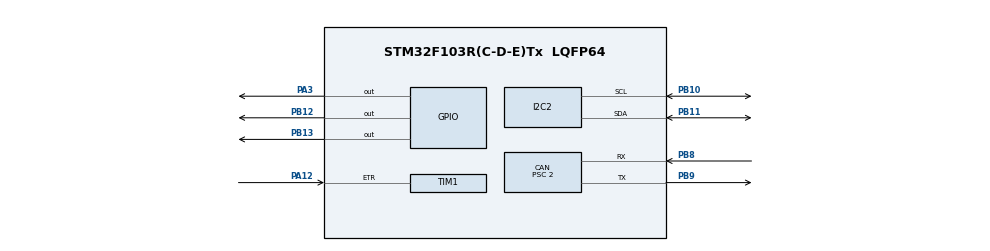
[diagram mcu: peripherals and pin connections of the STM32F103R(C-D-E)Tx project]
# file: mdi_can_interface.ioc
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CAN.BS1=CAN_BS1_4TQ
CAN.BS2=CAN_BS2_3TQ
CAN.CalculateBaudRate=500000
CAN.CalculateTimeBit=2000
CAN.CalculateTimeQuantum=250.0
CAN.Mode=CAN_MODE_NORMAL
CAN.Prescaler=2
CAN.SJW=CAN_SJW_1TQ
Mcu.Family=STM32F1
Mcu.Name=STM32F103R(C-D-E)Tx
Mcu.Package=LQFP64
NVIC.CAN1_RX1_IRQn=true\:0\:0\:false\:false\:true\:true\:true\:true
NVIC.PriorityGroup=NVIC_PRIORITYGROUP_4
NVIC.TIM1_UP_IRQn=true\:0\:0\:false\:false\:true\:true\:true\:true
NVIC.TIM6_IRQn=true\:0\:0\:false\:false\:true\:true\:true\:true
NVIC.TIM7_IRQn=true\:0\:0\:false\:false\:true\:true\:true\:true
NVIC.USB_LP_CAN1_RX0_IRQn=true\:0\:0\:false\:false\:true\:true\:true\:true
PA12.Signal=S_TIM1_ETR
PA13.Mode=Serial_Wire
PA13.Signal=SYS_JTMS-SWDIO
PA14.Mode=Serial_Wire
PA14.Signal=SYS_JTCK-SWCLK
PA3.GPIO_ModeDefaultOutputPP=GPIO_MODE_OUTPUT_PP
PA3.GPIO_PuPd=GPIO_NOPULL
PA3.Signal=GPIO_Output
PB10.Mode=I2C
PB10.Signal=I2C2_SCL
PB11.Mode=I2C
PB11.Signal=I2C2_SDA
PB12.GPIO_ModeDefaultOutputPP=GPIO_MODE_OUTPUT_PP
PB12.GPIO_PuPd=GPIO_NOPULL
PB12.Signal=GPIO_Output
PB13.GPIO_ModeDefaultOutputPP=GPIO_MODE_OUTPUT_PP
PB13.GPIO_PuPd=GPIO_NOPULL
PB13.Signal=GPIO_Output
PB8.Mode=CAN_Activate
PB8.Signal=CAN_RX
PB9.Mode=CAN_Activate
PB9.Signal=CAN_TX
PD0-OSC_IN.Signal=RCC_OSC_IN
PD1-OSC_OUT.Signal=RCC_OSC_OUT
ProjectManager.HeapSize=0x200
ProjectManager.StackSize=0x400
ProjectManager.TargetToolchain=STM32CubeIDE
RCC.APB1Freq_Value=8000000
RCC.APB1TimFreq_Value=8000000
RCC.APB2Freq_Value=8000000
SH.S_TIM1_ETR.0=TIM1_ETR,ClockSourceETR_Mode2
TIM1.AutoReloadPreload=TIM_AUTORELOAD_PRELOAD_ENABLE
TIM1.ClockFilter=15
TIM1.Period=47
TIM6.Period=200-1
TIM6.Prescaler=8000-1
TIM7.AutoReloadPreload=TIM_AUTORELOAD_PRELOAD_ENABLE
TIM7.Period=1000-1
TIM7.Prescaler=8000-1
VP_TIM6_VS_ClockSourceINT.Mode=Enable_Timer
VP_TIM7_VS_ClockSourceINT.Mode=Enable_Timer
board=custom

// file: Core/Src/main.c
/* USER CODE BEGIN Header */
/**
  ******************************************************************************
  * @file           : main.c
  * @brief          : Main program body
  ******************************************************************************
  * @attention
  *
  * <h2><center>&copy; Copyright (c) 2023 STMicroelectronics.
  * All rights reserved.</center></h2>
  *
  * This software component is licensed by ST under BSD 3-Clause license,
  * the "License"; You may not use this file except in compliance with the
  * License. You may obtain a copy of the License at:
  *                        opensource.org/licenses/BSD-3-Clause
  *
  ******************************************************************************
  */
/* USER CODE END Header */
#include "main.h"

/* USER CODE BEGIN Includes */
#include <can.h>
/* USER CODE END Includes */

/* USER CODE BEGIN PM */
#define DAC_ADDR        (0b0001110 << 1)
#define DAC_REGEN_ADDR  (0b0001101 << 1)
/* USER CODE END PM */

CAN_HandleTypeDef hcan;

I2C_HandleTypeDef hi2c2;

TIM_HandleTypeDef htim1;
TIM_HandleTypeDef htim6;
TIM_HandleTypeDef htim7;

void SystemClock_Config(void);
static void MX_GPIO_Init(void);
static void MX_CAN_Init(void);
static void MX_I2C2_Init(void);
static void MX_TIM6_Init(void);
static void MX_TIM1_Init(void);
static void MX_TIM7_Init(void);

/* USER CODE BEGIN 0 */

CAN_TxHeaderTypeDef TxHeader; //struct with outgoing message information (type and length, etc.)
CAN_RxHeaderTypeDef RxHeader; //struct with incoming message information
uint32_t TxMailbox[3]; //3 transmit mailboxes

uint8_t TxData[8]; //buffer for transmit message
uint8_t RxData[8]; //buffer for receive message
uint8_t getTxData[8];

uint8_t localRxDataFrame0[8];
uint8_t localRxDataFrame1[8];
uint8_t localRxDataFrame2[8];
uint8_t localRxDataMessage401[8];

CAN_message_t msg0; //where all the info and data for the message will be put

int txIDList[] = {0x501, 0x502, 0x503, 0x50B}; //array for the messages to be sent

//Flags Initialization
bool SendMessageTimerInterrupt = 0;
bool SendSlowMessage = 0;
bool UpdateSpeedInterrupt = 0;
bool send_data_flag = 0;
bool Parse_Data_Flag = 0;
bool parse_frame0 = 0;
bool parse_frame1 = 0;
bool parse_frame2 = 0;

//Variables for HALL speed calculations
uint32_t oldTime = 0;
uint32_t currentTime = 0;
float rpm = 0;

float parsed_voltage = 0;

uint8_t countSlowTimerInterrupt = 0; //counter to send the slower messages

/* USER CODE END 0 */

int main(void)
{
  /* USER CODE BEGIN 1 */
	uint8_t RxDataLocal[8];
  /* USER CODE END 1 */

  /* MCU Configuration--------------------------------------------------------*/

  /* Reset of all peripherals, Initializes the Flash interface and the Systick. */
  HAL_Init();

  /* Configure the system clock */
  SystemClock_Config();

  /* Initialize all configured peripherals */
  MX_GPIO_Init();
  MX_CAN_Init();
  MX_I2C2_Init();
  MX_TIM6_Init();
  MX_TIM1_Init();
  MX_TIM7_Init();
  /* USER CODE BEGIN 2 */
  HAL_CAN_Start(&hcan); //starts CAN
  HAL_CAN_ActivateNotification(&hcan, CAN_IT_RX_FIFO0_MSG_PENDING); //FIFO0 message pending interrupt (interrupt callback func will be called when this interrupt is triggered)

  HAL_TIM_Base_Start_IT(&htim6); //timer for sending messages
  HAL_TIM_Base_Start_IT(&htim1); //timer for updating speed coming from HALL sensor
  HAL_TIM_Base_Start_IT(&htim7); //WATCHDOG timer to reset rpm to 0 when motor stops spinning

  TxHeader.DLC = 8;
  TxHeader.IDE = CAN_ID_EXT; //type of id being sent ext or simple
  TxHeader.RTR = CAN_RTR_DATA;
  TxHeader.ExtId = 0x08F89540; //request frame ExtId
  TxHeader.TransmitGlobalTime = DISABLE;

  /* USER CODE END 2 */

  /* Infinite loop */
  /* USER CODE BEGIN WHILE */

  //BOOT LED
  HAL_GPIO_WritePin(GPIOA, GPIO_PIN_3, GPIO_PIN_SET);

  while (1)
  {
    //////////////////////////////////////
    // PARSE MESSAGES COMING FROM MOTOR CONTROLLER  and
    //////////////////////////////////////
    if(Parse_Data_Flag == 1 ){ //Parse_Data_Flag set in interrupt

      //CopyRxData(localRxDataMessage401,RxDataLocal);
      CAN_Decode_Velocity_Message(localRxDataMessage401, &msg0); //Decode the Incoming 0x401 Messages to get data for driving the car
      Parse_Data_Flag = 0;
      send_data_flag = 1;
    }

    if(parse_frame0 == 1){ //Parse the frame based on info we want
    	CopyRxData(localRxDataFrame0,RxDataLocal);
    	Decode_Frame0(RxDataLocal,&msg0);
    	parse_frame0 = 0; //reset flag
    }

    if(parse_frame1 == 1){ //Parse the frame based on info we want (currently this frame doesnt have info we care)
    	CopyRxData(localRxDataFrame1,RxDataLocal);
    	parse_frame1 = 0; //reset flag

    }

    if(parse_frame2 == 1){ //Parse the frame based on info we want
    	CopyRxData(localRxDataFrame2,RxDataLocal);
    	Decode_Frame2(RxData,&msg0);
    	parse_frame2 = 0; //reset flag
    }

    //////////////////////////////////////
    // SEND SIGNALS TO MOTOR CONTROLLER
    //////////////////////////////////////

    if( (send_data_flag == 1 ) && (Parse_Data_Flag == 0) )
    {
    	 //send acceleration current to motor
         if(msg0.regen == REGEN_TRUE)
        	 Send_Voltage(msg0.acceleration, DAC_REGEN_ADDR, &hi2c2);
         else{
        	 parsed_voltage = msg0.acceleration;
        	 Send_Voltage(parsed_voltage, DAC_ADDR, &hi2c2);
         }

         //send direction
         if(msg0.direction == REVERSE_FALSE)
        	 HAL_GPIO_WritePin(GPIOB, GPIO_PIN_13, GPIO_PIN_SET);
         else
        	 HAL_GPIO_WritePin(GPIOB, GPIO_PIN_13, GPIO_PIN_RESET);

         //send power/eco
         if(msg0.power_or_eco == ECO_ON)
        	 HAL_GPIO_WritePin(GPIOB, GPIO_PIN_12, GPIO_PIN_SET);
         else
        	 HAL_GPIO_WritePin(GPIOB, GPIO_PIN_12, GPIO_PIN_RESET);

	     send_data_flag = 0;
    }

    //////////////////////////////////////
    // SEND MESSEGE TO MCB
    //////////////////////////////////////

    if(SendMessageTimerInterrupt == 1)
    {
    	SendMessageTimerInterrupt = 0;

    	//send request for data from MC
    	TxHeader.IDE = CAN_ID_EXT; //type of id being sent ext or simple
    	TxHeader.ExtId = 0x08F89540; //request frame ExtId
    	//Send_Test_Message(TxData, 7, 7); //request all frames
    	Send_Test_Message(TxData, 5, 5); //request frame 0 and 2
    	HAL_CAN_AddTxMessage(&hcan, &TxHeader, TxData, TxMailbox);

    	//txData 0x501
    	TxHeader.StdId = txIDList[0];
    	TxHeader.IDE = CAN_ID_STD; //type of id being sent ext or simple
    	get501(getTxData, msg0);
    	for(int i = 0; i < 8; i++){
    		TxData[i] = getTxData[i];
    	}
    	HAL_CAN_AddTxMessage(&hcan, &TxHeader, TxData, TxMailbox);

    	//txData 0x502
    	TxHeader.StdId = txIDList[1];
    	TxHeader.IDE = CAN_ID_STD; //type of id being sent ext or simple
    	get502(getTxData, msg0);
    	for(int i = 0; i < 8; i++){
    		TxData[i] = getTxData[i];
    	}
    	HAL_CAN_AddTxMessage(&hcan, &TxHeader, TxData, TxMailbox);

    	//need to wait for mailbox to clear before sending msg
    	while(HAL_CAN_GetTxMailboxesFreeLevel(&hcan) < 1 ){};

    	//txData 0x503
    	TxHeader.StdId = txIDList[2];
    	TxHeader.IDE = CAN_ID_STD; //type of id being sent ext or simple
    	get503(getTxData, msg0);
    	for(int i = 0; i < 8; i++){
    		TxData[i] = getTxData[i];
    	}
    	HAL_CAN_AddTxMessage(&hcan, &TxHeader, TxData, TxMailbox);

    	//need to wait for mailbox to clear before sending msg
    	while(HAL_CAN_GetTxMailboxesFreeLevel(&hcan) < 1 ){}; //very sketch this was added by BEN :) - P.S Mischa dont kill me

    	if(SendSlowMessage == 1){
    		//txData 0x50B
    		TxHeader.StdId = txIDList[3];
    		TxHeader.IDE = CAN_ID_STD; //type of id being sent ext or simple
    		get50B(getTxData, msg0);
    		for(int i = 0; i < 8; i++){
    			TxData[i] = getTxData[i];
    		}
    	  HAL_CAN_AddTxMessage(&hcan, &TxHeader, TxData, TxMailbox);
    	  SendSlowMessage = 0;
      }
    }
    ///////////////////////////////
    //// HALL SPEED Convertion ////
    ///////////////////////////////

    if(UpdateSpeedInterrupt == 1){
      UpdateSpeedInterrupt = 0; //reset flag

      rpm = 60.0 / ((currentTime - oldTime) * 0.001); //get RPM

      msg0.motorVelocity = rpm;
      msg0.vehicleVelocity = (WHEEL_RADIUS * 2.0 * M_PI * rpm) / 60.0 ;  //linear speed = radius x angular speed = r*2*π*(RPM)/60
    }
  }
    /* USER CODE END WHILE */

}

void SystemClock_Config(void)
{
  RCC_OscInitTypeDef RCC_OscInitStruct = {0};
  RCC_ClkInitTypeDef RCC_ClkInitStruct = {0};

  /** Initializes the RCC Oscillators according to the specified parameters
  * in the RCC_OscInitTypeDef structure.
  */
  RCC_OscInitStruct.OscillatorType = RCC_OSCILLATORTYPE_HSI;
  RCC_OscInitStruct.HSIState = RCC_HSI_ON;
  RCC_OscInitStruct.HSICalibrationValue = RCC_HSICALIBRATION_DEFAULT;
  RCC_OscInitStruct.PLL.PLLState = RCC_PLL_NONE;
  if (HAL_RCC_OscConfig(&RCC_OscInitStruct) != HAL_OK)
  {
    Error_Handler();
  }
  /** Initializes the CPU, AHB and APB buses clocks
  */
  RCC_ClkInitStruct.ClockType = RCC_CLOCKTYPE_HCLK|RCC_CLOCKTYPE_SYSCLK
                              |RCC_CLOCKTYPE_PCLK1|RCC_CLOCKTYPE_PCLK2;
  RCC_ClkInitStruct.SYSCLKSource = RCC_SYSCLKSOURCE_HSI;
  RCC_ClkInitStruct.AHBCLKDivider = RCC_SYSCLK_DIV1;
  RCC_ClkInitStruct.APB1CLKDivider = RCC_HCLK_DIV1;
  RCC_ClkInitStruct.APB2CLKDivider = RCC_HCLK_DIV1;

  if (HAL_RCC_ClockConfig(&RCC_ClkInitStruct, FLASH_LATENCY_0) != HAL_OK)
  {
    Error_Handler();
  }
}

static void MX_CAN_Init(void)
{

  hcan.Instance = CAN1;
  hcan.Init.Prescaler = 2;
  hcan.Init.Mode = CAN_MODE_NORMAL;
  hcan.Init.SyncJumpWidth = CAN_SJW_1TQ;
  hcan.Init.TimeSeg1 = CAN_BS1_4TQ;
  hcan.Init.TimeSeg2 = CAN_BS2_3TQ;
  hcan.Init.TimeTriggeredMode = DISABLE;
  hcan.Init.AutoBusOff = DISABLE;
  hcan.Init.AutoWakeUp = DISABLE;
  hcan.Init.AutoRetransmission = DISABLE;
  hcan.Init.ReceiveFifoLocked = DISABLE;
  hcan.Init.TransmitFifoPriority = DISABLE;
  if (HAL_CAN_Init(&hcan) != HAL_OK)
  {
    Error_Handler();
  }
  /* USER CODE BEGIN CAN_Init 2 */

  //Code for setting up filters
   CAN_FilterTypeDef canfilterconfig; //struct that contains all the info for filters

   canfilterconfig.FilterActivation = CAN_FILTER_ENABLE;  //ENABLE
   canfilterconfig.FilterBank = 0;                       //Current filter bank to use
   canfilterconfig.FilterFIFOAssignment = CAN_RX_FIFO0;   //Using Fifo0 interrupt
   canfilterconfig.FilterIdHigh = 0x401<<5;               //Assuming we are only filtering for 0x401 message
   canfilterconfig.FilterIdLow = 0x0000;
   canfilterconfig.FilterMaskIdHigh = 0; //changed from 0x1<<13
   canfilterconfig.FilterMaskIdLow = 0x0000;
   canfilterconfig.FilterMode = CAN_FILTERMODE_IDMASK;    //Masking mode
   canfilterconfig.FilterScale = CAN_FILTERSCALE_32BIT;
   canfilterconfig.SlaveStartFilterBank = 13; // tells where to start giving the slave filters

   HAL_CAN_ConfigFilter(&hcan, &canfilterconfig);         //sets up the filter according the info in canfilterconfig

   //frame0
   canfilterconfig.FilterBank = 1;                       //Current filter bank to use
   canfilterconfig.FilterIdHigh = 0x08850225;
   canfilterconfig.FilterIdLow = 0x0000;

   HAL_CAN_ConfigFilter(&hcan, &canfilterconfig);         //sets up the filter according the info in canfilterconfig

   //frame1
   canfilterconfig.FilterBank = 2;                       //Current filter bank to use
   canfilterconfig.FilterIdHigh = 0x08950225;
   canfilterconfig.FilterIdLow = 0x0000;

   HAL_CAN_ConfigFilter(&hcan, &canfilterconfig);         //sets up the filter according the info in canfilterconfig

   //frame2
   canfilterconfig.FilterBank = 3;                       //Current filter bank to use
   canfilterconfig.FilterIdHigh = 0x08A50225;
   canfilterconfig.FilterIdLow = 0x0000;

   HAL_CAN_ConfigFilter(&hcan, &canfilterconfig);         //sets up the filter according the info in canfilterconfig

  /* USER CODE END CAN_Init 2 */

}

static void MX_I2C2_Init(void)
{

  hi2c2.Instance = I2C2;
  hi2c2.Init.ClockSpeed = 100000;
  hi2c2.Init.DutyCycle = I2C_DUTYCYCLE_2;
  hi2c2.Init.OwnAddress1 = 0;
  hi2c2.Init.AddressingMode = I2C_ADDRESSINGMODE_7BIT;
  hi2c2.Init.DualAddressMode = I2C_DUALADDRESS_DISABLE;
  hi2c2.Init.OwnAddress2 = 0;
  hi2c2.Init.GeneralCallMode = I2C_GENERALCALL_DISABLE;
  hi2c2.Init.NoStretchMode = I2C_NOSTRETCH_DISABLE;
  if (HAL_I2C_Init(&hi2c2) != HAL_OK)
  {
    Error_Handler();
  }

}

static void MX_TIM1_Init(void)
{

  TIM_ClockConfigTypeDef sClockSourceConfig = {0};
  TIM_MasterConfigTypeDef sMasterConfig = {0};

  htim1.Instance = TIM1;
  htim1.Init.Prescaler = 0;
  htim1.Init.CounterMode = TIM_COUNTERMODE_UP;
  htim1.Init.Period = 47;
  htim1.Init.ClockDivision = TIM_CLOCKDIVISION_DIV1;
  htim1.Init.RepetitionCounter = 0;
  htim1.Init.AutoReloadPreload = TIM_AUTORELOAD_PRELOAD_ENABLE;
  if (HAL_TIM_Base_Init(&htim1) != HAL_OK)
  {
    Error_Handler();
  }
  sClockSourceConfig.ClockSource = TIM_CLOCKSOURCE_ETRMODE2;
  sClockSourceConfig.ClockPolarity = TIM_CLOCKPOLARITY_NONINVERTED;
  sClockSourceConfig.ClockPrescaler = TIM_CLOCKPRESCALER_DIV1;
  sClockSourceConfig.ClockFilter = 15;
  if (HAL_TIM_ConfigClockSource(&htim1, &sClockSourceConfig) != HAL_OK)
  {
    Error_Handler();
  }
  sMasterConfig.MasterOutputTrigger = TIM_TRGO_RESET;
  sMasterConfig.MasterSlaveMode = TIM_MASTERSLAVEMODE_DISABLE;
  if (HAL_TIMEx_MasterConfigSynchronization(&htim1, &sMasterConfig) != HAL_OK)
  {
    Error_Handler();
  }

}

static void MX_TIM6_Init(void)
{

  TIM_MasterConfigTypeDef sMasterConfig = {0};

  htim6.Instance = TIM6;
  htim6.Init.Prescaler = 8000-1;
  htim6.Init.CounterMode = TIM_COUNTERMODE_UP;
  htim6.Init.Period = 200-1;
  htim6.Init.AutoReloadPreload = TIM_AUTORELOAD_PRELOAD_DISABLE;
  if (HAL_TIM_Base_Init(&htim6) != HAL_OK)
  {
    Error_Handler();
  }
  sMasterConfig.MasterOutputTrigger = TIM_TRGO_RESET;
  sMasterConfig.MasterSlaveMode = TIM_MASTERSLAVEMODE_DISABLE;
  if (HAL_TIMEx_MasterConfigSynchronization(&htim6, &sMasterConfig) != HAL_OK)
  {
    Error_Handler();
  }

}

static void MX_TIM7_Init(void)
{

  TIM_MasterConfigTypeDef sMasterConfig = {0};

  htim7.Instance = TIM7;
  htim7.Init.Prescaler = 8000-1;
  htim7.Init.CounterMode = TIM_COUNTERMODE_UP;
  htim7.Init.Period = 1000-1;
  htim7.Init.AutoReloadPreload = TIM_AUTORELOAD_PRELOAD_ENABLE;
  if (HAL_TIM_Base_Init(&htim7) != HAL_OK)
  {
    Error_Handler();
  }
  sMasterConfig.MasterOutputTrigger = TIM_TRGO_RESET;
  sMasterConfig.MasterSlaveMode = TIM_MASTERSLAVEMODE_DISABLE;
  if (HAL_TIMEx_MasterConfigSynchronization(&htim7, &sMasterConfig) != HAL_OK)
  {
    Error_Handler();
  }

}

static void MX_GPIO_Init(void)
{
  GPIO_InitTypeDef GPIO_InitStruct = {0};

  /* GPIO Ports Clock Enable */
  __HAL_RCC_GPIOD_CLK_ENABLE();
  __HAL_RCC_GPIOA_CLK_ENABLE();
  __HAL_RCC_GPIOB_CLK_ENABLE();

  /*Configure GPIO pin Output Level */
  HAL_GPIO_WritePin(GPIOA, GPIO_PIN_3, GPIO_PIN_RESET);

  /*Configure GPIO pin Output Level */
  HAL_GPIO_WritePin(GPIOB, GPIO_PIN_12|GPIO_PIN_13, GPIO_PIN_RESET);

  /*Configure GPIO pin : PA3 */
  GPIO_InitStruct.Pin = GPIO_PIN_3;
  GPIO_InitStruct.Mode = GPIO_MODE_OUTPUT_PP;
  GPIO_InitStruct.Pull = GPIO_NOPULL;
  GPIO_InitStruct.Speed = GPIO_SPEED_FREQ_LOW;
  HAL_GPIO_Init(GPIOA, &GPIO_InitStruct);

  /*Configure GPIO pins : PB12 PB13 */
  GPIO_InitStruct.Pin = GPIO_PIN_12|GPIO_PIN_13;
  GPIO_InitStruct.Mode = GPIO_MODE_OUTPUT_PP;
  GPIO_InitStruct.Pull = GPIO_NOPULL;
  GPIO_InitStruct.Speed = GPIO_SPEED_FREQ_LOW;
  HAL_GPIO_Init(GPIOB, &GPIO_InitStruct);

}

/* USER CODE BEGIN 4 */

//Interrupt where code will go when it receives a CAN message.
void HAL_CAN_RxFifo0MsgPendingCallback(CAN_HandleTypeDef *hcan) //receive data in this function
{

  //gets the CAN message with info in RxHeader and data in RxData
	if(HAL_CAN_GetRxMessage(hcan, CAN_RX_FIFO0, &RxHeader, RxData) != HAL_OK)
	{
		Error_Handler();
	}

  //sets a flag to let the main loop know a message has been received
	if(RxHeader.IDE == 4){ //we received and ExtId
		switch(RxHeader.ExtId){
			case (0x08850225): //frame 0
					parse_frame0 = 1;
				CopyRxData(RxData, localRxDataFrame0);
				break;
			case (0x08950225): //frame 1
					parse_frame1 = 1;
				CopyRxData(RxData, localRxDataFrame1);
				break;
			case (0x08A50225): //frame 2
				parse_frame2 = 1;
				CopyRxData(RxData, localRxDataFrame2);
				break;
			default:
				break;
		}
	}
	else{
		if(RxHeader.StdId == 0x401){ //0x401 velocity message
			Parse_Data_Flag = 1;
			CopyRxData(RxData, localRxDataMessage401);
		}
	}

}

// Callback: timer has rolled over
void HAL_TIM_PeriodElapsedCallback(TIM_HandleTypeDef *htim)
{
  // Check which version of the timer triggered this callback and toggle LED
  if (htim == &htim6 )
  {
	  SendMessageTimerInterrupt = 1;

	  countSlowTimerInterrupt++;
	  if(countSlowTimerInterrupt == 5) //send 50B message every second (Interrupt triggers every 0.2 s)
	  {
		  SendSlowMessage = 1;
		  countSlowTimerInterrupt = 0;
	  }
  }

  if(htim == &htim1){
	  oldTime = currentTime;
	  currentTime = HAL_GetTick();
	  UpdateSpeedInterrupt = 1;

	  TIM7 -> CNT = 0; //reset WATCHDOG timer to 0
  }

  if(htim == &htim7){
	  rpm = 0; //if we enter WATCHDOG timer interrupt we must have stopped spinning the motor
	  msg0.motorVelocity = 0;
	  msg0.vehicleVelocity = 0;
  }
}
/* USER CODE END 4 */

void Error_Handler(void)
{
  __disable_irq();
  while (1)
  {
  }
}

/************************ (C) COPYRIGHT STMicroelectronics *****END OF FILE****/
